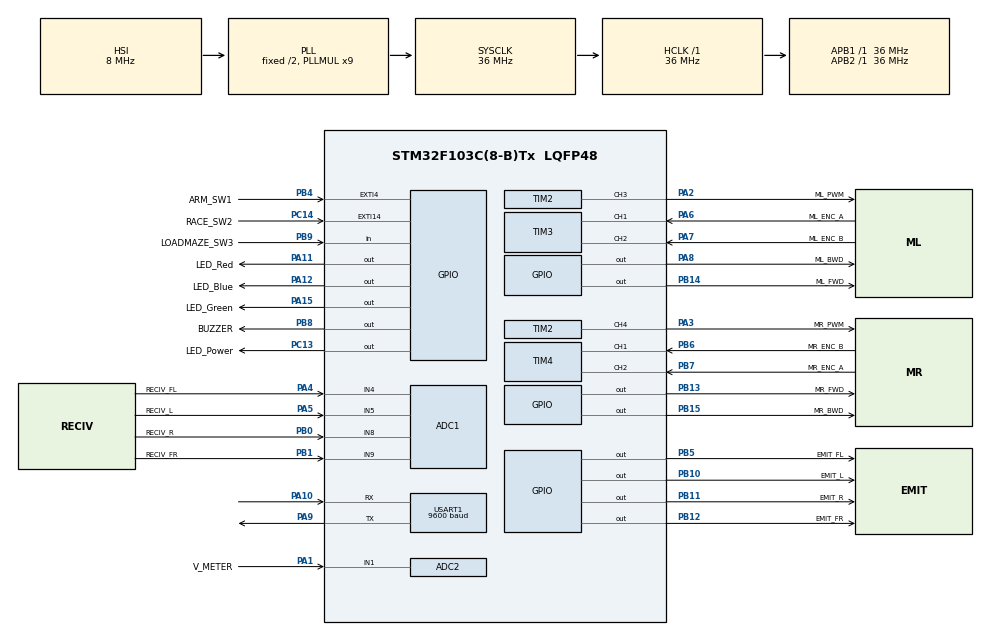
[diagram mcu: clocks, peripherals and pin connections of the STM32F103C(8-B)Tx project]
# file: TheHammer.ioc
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ADC1.Channel-0\#ChannelRegularConversion=ADC_CHANNEL_5
ADC1.NbrOfConversionFlag=1
ADC1.Rank-0\#ChannelRegularConversion=1
ADC1.SamplingTime-0\#ChannelRegularConversion=ADC_SAMPLETIME_1CYCLE_5
ADC1.master=1
ADC2.Channel-0\#ChannelRegularConversion=ADC_CHANNEL_1
ADC2.NbrOfConversion=1
ADC2.NbrOfConversionFlag=1
ADC2.Rank-0\#ChannelRegularConversion=1
ADC2.SamplingTime-0\#ChannelRegularConversion=ADC_SAMPLETIME_1CYCLE_5
Mcu.Family=STM32F1
Mcu.Name=STM32F103C(8-B)Tx
Mcu.Package=LQFP48
NVIC.EXTI15_10_IRQn=true\:15\:0\:true\:false\:true\:true\:true\:true
NVIC.EXTI4_IRQn=true\:15\:0\:true\:false\:true\:true\:true\:true
NVIC.PriorityGroup=NVIC_PRIORITYGROUP_4
NVIC.TIM3_IRQn=true\:0\:0\:false\:false\:true\:true\:true\:true
NVIC.TIM4_IRQn=true\:0\:0\:false\:false\:true\:true\:true\:true
NVIC.USART1_IRQn=true\:0\:0\:false\:false\:true\:true\:true\:true
PA1.GPIO_Label=V_METER
PA1.Signal=ADCx_IN1
PA10.Mode=Asynchronous
PA10.Signal=USART1_RX
PA11.GPIO_Label=LED_Red
PA11.PinState=GPIO_PIN_SET
PA11.Signal=GPIO_Output
PA12.GPIO_Label=LED_Blue
PA12.PinState=GPIO_PIN_SET
PA12.Signal=GPIO_Output
PA13.Mode=Serial_Wire
PA13.Signal=SYS_JTMS-SWDIO
PA14.Mode=Serial_Wire
PA14.Signal=SYS_JTCK-SWCLK
PA15.GPIO_Label=LED_Green
PA15.PinState=GPIO_PIN_SET
PA15.Signal=GPIO_Output
PA2.GPIO_Label=ML_PWM
PA2.Signal=S_TIM2_CH3
PA3.GPIO_Label=MR_PWM
PA3.Signal=S_TIM2_CH4
PA4.GPIO_Label=RECIV_FL
PA4.Signal=ADCx_IN4
PA5.GPIO_Label=RECIV_L
PA5.Signal=ADCx_IN5
PA6.GPIO_Label=ML_ENC_A
PA6.GPIO_PuPd=GPIO_NOPULL
PA6.Signal=S_TIM3_CH1
PA7.GPIO_Label=ML_ENC_B
PA7.GPIO_PuPd=GPIO_NOPULL
PA7.Signal=S_TIM3_CH2
PA8.GPIO_Label=ML_BWD
PA8.Signal=GPIO_Output
PA9.Mode=Asynchronous
PA9.Signal=USART1_TX
PB0.GPIO_Label=RECIV_R
PB0.Signal=ADCx_IN8
PB1.GPIO_Label=RECIV_FR
PB1.Signal=ADCx_IN9
PB10.GPIO_Label=EMIT_L
PB10.Signal=GPIO_Output
PB11.GPIO_Label=EMIT_R
PB11.Signal=GPIO_Output
PB12.GPIO_Label=EMIT_FR
PB12.Signal=GPIO_Output
PB13.GPIO_Label=MR_FWD
PB13.Signal=GPIO_Output
PB14.GPIO_Label=ML_FWD
PB14.Signal=GPIO_Output
PB15.GPIO_Label=MR_BWD
PB15.Signal=GPIO_Output
PB4.GPIO_Label=ARM_SW1
PB4.GPIO_ModeDefaultEXTI=GPIO_MODE_IT_FALLING
PB4.Signal=GPXTI4
PB5.GPIO_Label=EMIT_FL
PB5.Signal=GPIO_Output
PB6.GPIO_Label=MR_ENC_B
PB6.Signal=S_TIM4_CH1
PB7.GPIO_Label=MR_ENC_A
PB7.Signal=S_TIM4_CH2
PB8.GPIO_Label=BUZZER
PB8.Signal=GPIO_Output
PB9.GPIO_Label=LOADMAZE_SW3
PB9.Signal=GPIO_Input
PC13-TAMPER-RTC.GPIO_Label=LED_Power
PC13-TAMPER-RTC.Signal=GPIO_Output
PC14-OSC32_IN.GPIO_Label=RACE_SW2
PC14-OSC32_IN.GPIO_ModeDefaultEXTI=GPIO_MODE_IT_FALLING
PC14-OSC32_IN.Signal=GPXTI14
ProjectManager.HeapSize=0x200
ProjectManager.StackSize=0x400
ProjectManager.TargetToolchain=STM32CubeIDE
RCC.ADCPresc=RCC_ADCPCLK2_DIV6
RCC.AHBFreq_Value=36000000
RCC.APB1Freq_Value=36000000
RCC.APB1TimFreq_Value=36000000
RCC.APB2Freq_Value=36000000
RCC.APB2TimFreq_Value=36000000
RCC.HCLKFreq_Value=36000000
RCC.PLLMUL=RCC_PLL_MUL9
RCC.SYSCLKFreq_VALUE=36000000
RCC.SYSCLKSource=RCC_SYSCLKSOURCE_PLLCLK
RCC.USBFreq_Value=36000000
SH.ADCx_IN1.0=ADC2_IN1,IN1
SH.ADCx_IN4.0=ADC1_IN4,IN4
SH.ADCx_IN5.0=ADC1_IN5,IN5
SH.ADCx_IN8.0=ADC1_IN8,IN8
SH.ADCx_IN9.0=ADC1_IN9,IN9
SH.S_TIM2_CH3.0=TIM2_CH3,PWM Generation3 CH3
SH.S_TIM2_CH4.0=TIM2_CH4,PWM Generation4 CH4
SH.S_TIM3_CH1.0=TIM3_CH1,Encoder_Interface
SH.S_TIM3_CH2.0=TIM3_CH2,Encoder_Interface
SH.S_TIM4_CH1.0=TIM4_CH1,Encoder_Interface
SH.S_TIM4_CH2.0=TIM4_CH2,Encoder_Interface
TIM2.AutoReloadPreload=TIM_AUTORELOAD_PRELOAD_ENABLE
TIM2.Channel-PWM\ Generation3\ CH3=TIM_CHANNEL_3
TIM2.Channel-PWM\ Generation4\ CH4=TIM_CHANNEL_4
TIM2.Period=2047
TIM2.Prescaler=0
TIM2.Pulse-PWM\ Generation3\ CH3=0
TIM2.Pulse-PWM\ Generation4\ CH4=0
TIM3.CounterMode=TIM_COUNTERMODE_UP
TIM3.EncoderMode=TIM_ENCODERMODE_TI12
TIM3.IC1Filter=0
TIM3.IC1Polarity=TIM_ICPOLARITY_FALLING
TIM3.IC2Filter=0
TIM3.IC2Polarity=TIM_ICPOLARITY_FALLING
TIM3.TIM_MasterOutputTrigger=TIM_TRGO_RESET
TIM4.CounterMode=TIM_COUNTERMODE_UP
TIM4.EncoderMode=TIM_ENCODERMODE_TI12
TIM4.IC1Polarity=TIM_ICPOLARITY_FALLING
TIM4.IC2Polarity=TIM_ICPOLARITY_FALLING
USART1.BaudRate=9600
USART1.Mode=MODE_TX_RX
USART1.VirtualMode=VM_ASYNC
USART1.WordLength=WORDLENGTH_8B
VP_TIM2_VS_ClockSourceINT.Mode=Internal
board=custom

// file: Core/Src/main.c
/* USER CODE BEGIN Header */
/**
  ******************************************************************************
  * @file           : main.c
  * @brief          : Main program body
  ******************************************************************************
  * @attention
  *
  * Copyright (c) 2025 STMicroelectronics.
  * All rights reserved.
  *
  * This software is licensed under terms that can be found in the LICENSE file
  * in the root directory of this software component.
  * If no LICENSE file comes with this software, it is provided AS-IS.
  *
  ******************************************************************************
  */
/* USER CODE END Header */
#include "main.h"

/* USER CODE BEGIN Includes */
#include "mm_supplemental.h"
#include "mm_commands.h"
#include "mm_vision.h"
#include "mm_systick.h"
#include "mm_motors.h"
#include "mm_encoders.h"
#include "mm_floodfill.h"
#include "mm_profiles.h"
/* USER CODE END Includes */

ADC_HandleTypeDef hadc1;
ADC_HandleTypeDef hadc2;

TIM_HandleTypeDef htim2;
TIM_HandleTypeDef htim3;
TIM_HandleTypeDef htim4;

UART_HandleTypeDef huart1;

void SystemClock_Config(void);
static void MX_GPIO_Init(void);
static void MX_ADC1_Init(void);
static void MX_TIM2_Init(void);
static void MX_TIM3_Init(void);
static void MX_TIM4_Init(void);
static void MX_USART1_UART_Init(void);
static void MX_ADC2_Init(void);

/* USER CODE BEGIN 0 */
mouse_state_t mouse_state;

// Debug Mode
uint8_t debugMode = 0;
uint8_t debugCounter = 0;

// Global
uint32_t global_time = 0;
bool armed = false;

// IRs
extern bool adjust_steering;

// Encoders
int32_t objective_L = 0;
int32_t objective_R = 0;

// Maze-Solving
struct Maze maze;
uint8_t goal_swap = 0;

mouse_mode_t mouse_mode = SEARCHING;

// Profiles
profile_t forward_profile;
profile_t rotational_profile;

extern bool motor_controller_enabled;
extern param_t fwd_placeholder_1;
extern param_t fwd_placeholder_2;
extern param_t rot_placeholder_1;

/* USER CODE END 0 */

int main(void)
{

  /* MCU Configuration--------------------------------------------------------*/

  /* Reset of all peripherals, Initializes the Flash interface and the Systick. */
  HAL_Init();

  /* USER CODE BEGIN Init */
  LED_Power_Init();
  /* USER CODE END Init */

  /* Configure the system clock */
  SystemClock_Config();

  /* Initialize all configured peripherals */
  MX_GPIO_Init();
  MX_ADC1_Init();
  MX_TIM2_Init();
  MX_TIM3_Init();
  MX_TIM4_Init();
  MX_USART1_UART_Init();
  MX_ADC2_Init();
  /* USER CODE BEGIN 2 */
  uint8_t startBuff;
  HAL_UART_Receive_IT(&huart1, &startBuff, 1);

  HAL_TIM_PWM_Start(&htim2, TIM_CHANNEL_3);
  HAL_TIM_PWM_Start(&htim2, TIM_CHANNEL_4);

  HAL_TIM_Encoder_Start_IT(&htim4, TIM_CHANNEL_ALL);
  HAL_TIM_Encoder_Start_IT(&htim3, TIM_CHANNEL_ALL);

  // Initialize maze and set initial goal cells (center of 16x16 maze)
  Maze_Init(&maze);
  Set_Goal_Cell(&maze, 4);

  // Initialize mouse state to 0
  bzero(&mouse_state, sizeof(mouse_state_t));

  Clear_Profile(&forward_profile);
  Clear_Profile(&rotational_profile);
  /* USER CODE END 2 */

  /* Infinite loop */
  while (1)
  {

    /* USER CODE BEGIN 3 */
	  if (armed) {
		  motor_controller_enabled = true;
		  adjust_steering = true;
		  switch (mouse_mode) {
			  case TEST: // Mode for testing code without having to comment lines out
				  break;
			  case SEARCHING:
				  Search_Mode(&maze);
				  break;
			  case RACING:
				  Race_Mode(maze);
				  break;
		  }
	  }
	  else {
		  motor_controller_enabled = false;
		  adjust_steering = false;
	  }
  }
  /* USER CODE END 3 */
}

void SystemClock_Config(void)
{
  RCC_OscInitTypeDef RCC_OscInitStruct = {0};
  RCC_ClkInitTypeDef RCC_ClkInitStruct = {0};
  RCC_PeriphCLKInitTypeDef PeriphClkInit = {0};

  /** Initializes the RCC Oscillators according to the specified parameters
  * in the RCC_OscInitTypeDef structure.
  */
  RCC_OscInitStruct.OscillatorType = RCC_OSCILLATORTYPE_HSI;
  RCC_OscInitStruct.HSIState = RCC_HSI_ON;
  RCC_OscInitStruct.HSICalibrationValue = RCC_HSICALIBRATION_DEFAULT;
  RCC_OscInitStruct.PLL.PLLState = RCC_PLL_ON;
  RCC_OscInitStruct.PLL.PLLSource = RCC_PLLSOURCE_HSI_DIV2;
  RCC_OscInitStruct.PLL.PLLMUL = RCC_PLL_MUL9;
  if (HAL_RCC_OscConfig(&RCC_OscInitStruct) != HAL_OK)
  {
    Error_Handler();
  }

  /** Initializes the CPU, AHB and APB buses clocks
  */
  RCC_ClkInitStruct.ClockType = RCC_CLOCKTYPE_HCLK|RCC_CLOCKTYPE_SYSCLK
                              |RCC_CLOCKTYPE_PCLK1|RCC_CLOCKTYPE_PCLK2;
  RCC_ClkInitStruct.SYSCLKSource = RCC_SYSCLKSOURCE_PLLCLK;
  RCC_ClkInitStruct.AHBCLKDivider = RCC_SYSCLK_DIV1;
  RCC_ClkInitStruct.APB1CLKDivider = RCC_HCLK_DIV1;
  RCC_ClkInitStruct.APB2CLKDivider = RCC_HCLK_DIV1;

  if (HAL_RCC_ClockConfig(&RCC_ClkInitStruct, FLASH_LATENCY_1) != HAL_OK)
  {
    Error_Handler();
  }
  PeriphClkInit.PeriphClockSelection = RCC_PERIPHCLK_ADC;
  PeriphClkInit.AdcClockSelection = RCC_ADCPCLK2_DIV6;
  if (HAL_RCCEx_PeriphCLKConfig(&PeriphClkInit) != HAL_OK)
  {
    Error_Handler();
  }
}

static void MX_ADC1_Init(void)
{

  ADC_ChannelConfTypeDef sConfig = {0};

  /** Common config
  */
  hadc1.Instance = ADC1;
  hadc1.Init.ScanConvMode = ADC_SCAN_DISABLE;
  hadc1.Init.ContinuousConvMode = DISABLE;
  hadc1.Init.DiscontinuousConvMode = DISABLE;
  hadc1.Init.ExternalTrigConv = ADC_SOFTWARE_START;
  hadc1.Init.DataAlign = ADC_DATAALIGN_RIGHT;
  hadc1.Init.NbrOfConversion = 1;
  if (HAL_ADC_Init(&hadc1) != HAL_OK)
  {
    Error_Handler();
  }

  /** Configure Regular Channel
  */
  sConfig.Channel = ADC_CHANNEL_5;
  sConfig.Rank = ADC_REGULAR_RANK_1;
  sConfig.SamplingTime = ADC_SAMPLETIME_1CYCLE_5;
  if (HAL_ADC_ConfigChannel(&hadc1, &sConfig) != HAL_OK)
  {
    Error_Handler();
  }

}

static void MX_ADC2_Init(void)
{

  ADC_ChannelConfTypeDef sConfig = {0};

  /** Common config
  */
  hadc2.Instance = ADC2;
  hadc2.Init.ScanConvMode = ADC_SCAN_DISABLE;
  hadc2.Init.ContinuousConvMode = DISABLE;
  hadc2.Init.DiscontinuousConvMode = DISABLE;
  hadc2.Init.ExternalTrigConv = ADC_SOFTWARE_START;
  hadc2.Init.DataAlign = ADC_DATAALIGN_RIGHT;
  hadc2.Init.NbrOfConversion = 1;
  if (HAL_ADC_Init(&hadc2) != HAL_OK)
  {
    Error_Handler();
  }

  /** Configure Regular Channel
  */
  sConfig.Channel = ADC_CHANNEL_1;
  sConfig.Rank = ADC_REGULAR_RANK_1;
  sConfig.SamplingTime = ADC_SAMPLETIME_1CYCLE_5;
  if (HAL_ADC_ConfigChannel(&hadc2, &sConfig) != HAL_OK)
  {
    Error_Handler();
  }

}

static void MX_TIM2_Init(void)
{

  TIM_ClockConfigTypeDef sClockSourceConfig = {0};
  TIM_MasterConfigTypeDef sMasterConfig = {0};
  TIM_OC_InitTypeDef sConfigOC = {0};

  htim2.Instance = TIM2;
  htim2.Init.Prescaler = 0;
  htim2.Init.CounterMode = TIM_COUNTERMODE_UP;
  htim2.Init.Period = 2047;
  htim2.Init.ClockDivision = TIM_CLOCKDIVISION_DIV1;
  htim2.Init.AutoReloadPreload = TIM_AUTORELOAD_PRELOAD_ENABLE;
  if (HAL_TIM_Base_Init(&htim2) != HAL_OK)
  {
    Error_Handler();
  }
  sClockSourceConfig.ClockSource = TIM_CLOCKSOURCE_INTERNAL;
  if (HAL_TIM_ConfigClockSource(&htim2, &sClockSourceConfig) != HAL_OK)
  {
    Error_Handler();
  }
  if (HAL_TIM_PWM_Init(&htim2) != HAL_OK)
  {
    Error_Handler();
  }
  sMasterConfig.MasterOutputTrigger = TIM_TRGO_RESET;
  sMasterConfig.MasterSlaveMode = TIM_MASTERSLAVEMODE_DISABLE;
  if (HAL_TIMEx_MasterConfigSynchronization(&htim2, &sMasterConfig) != HAL_OK)
  {
    Error_Handler();
  }
  sConfigOC.OCMode = TIM_OCMODE_PWM1;
  sConfigOC.Pulse = 0;
  sConfigOC.OCPolarity = TIM_OCPOLARITY_HIGH;
  sConfigOC.OCFastMode = TIM_OCFAST_DISABLE;
  if (HAL_TIM_PWM_ConfigChannel(&htim2, &sConfigOC, TIM_CHANNEL_3) != HAL_OK)
  {
    Error_Handler();
  }
  if (HAL_TIM_PWM_ConfigChannel(&htim2, &sConfigOC, TIM_CHANNEL_4) != HAL_OK)
  {
    Error_Handler();
  }
  HAL_TIM_MspPostInit(&htim2);

}

static void MX_TIM3_Init(void)
{

  TIM_Encoder_InitTypeDef sConfig = {0};
  TIM_MasterConfigTypeDef sMasterConfig = {0};

  htim3.Instance = TIM3;
  htim3.Init.Prescaler = 0;
  htim3.Init.CounterMode = TIM_COUNTERMODE_UP;
  htim3.Init.Period = 65535;
  htim3.Init.ClockDivision = TIM_CLOCKDIVISION_DIV1;
  htim3.Init.AutoReloadPreload = TIM_AUTORELOAD_PRELOAD_DISABLE;
  sConfig.EncoderMode = TIM_ENCODERMODE_TI12;
  sConfig.IC1Polarity = TIM_ICPOLARITY_FALLING;
  sConfig.IC1Selection = TIM_ICSELECTION_DIRECTTI;
  sConfig.IC1Prescaler = TIM_ICPSC_DIV1;
  sConfig.IC1Filter = 0;
  sConfig.IC2Polarity = TIM_ICPOLARITY_FALLING;
  sConfig.IC2Selection = TIM_ICSELECTION_DIRECTTI;
  sConfig.IC2Prescaler = TIM_ICPSC_DIV1;
  sConfig.IC2Filter = 0;
  if (HAL_TIM_Encoder_Init(&htim3, &sConfig) != HAL_OK)
  {
    Error_Handler();
  }
  sMasterConfig.MasterOutputTrigger = TIM_TRGO_RESET;
  sMasterConfig.MasterSlaveMode = TIM_MASTERSLAVEMODE_DISABLE;
  if (HAL_TIMEx_MasterConfigSynchronization(&htim3, &sMasterConfig) != HAL_OK)
  {
    Error_Handler();
  }

}

static void MX_TIM4_Init(void)
{

  TIM_Encoder_InitTypeDef sConfig = {0};
  TIM_MasterConfigTypeDef sMasterConfig = {0};

  htim4.Instance = TIM4;
  htim4.Init.Prescaler = 0;
  htim4.Init.CounterMode = TIM_COUNTERMODE_UP;
  htim4.Init.Period = 65535;
  htim4.Init.ClockDivision = TIM_CLOCKDIVISION_DIV1;
  htim4.Init.AutoReloadPreload = TIM_AUTORELOAD_PRELOAD_DISABLE;
  sConfig.EncoderMode = TIM_ENCODERMODE_TI12;
  sConfig.IC1Polarity = TIM_ICPOLARITY_FALLING;
  sConfig.IC1Selection = TIM_ICSELECTION_DIRECTTI;
  sConfig.IC1Prescaler = TIM_ICPSC_DIV1;
  sConfig.IC1Filter = 0;
  sConfig.IC2Polarity = TIM_ICPOLARITY_FALLING;
  sConfig.IC2Selection = TIM_ICSELECTION_DIRECTTI;
  sConfig.IC2Prescaler = TIM_ICPSC_DIV1;
  sConfig.IC2Filter = 0;
  if (HAL_TIM_Encoder_Init(&htim4, &sConfig) != HAL_OK)
  {
    Error_Handler();
  }
  sMasterConfig.MasterOutputTrigger = TIM_TRGO_RESET;
  sMasterConfig.MasterSlaveMode = TIM_MASTERSLAVEMODE_DISABLE;
  if (HAL_TIMEx_MasterConfigSynchronization(&htim4, &sMasterConfig) != HAL_OK)
  {
    Error_Handler();
  }

}

static void MX_USART1_UART_Init(void)
{

  huart1.Instance = USART1;
  huart1.Init.BaudRate = 9600;
  huart1.Init.WordLength = UART_WORDLENGTH_8B;
  huart1.Init.StopBits = UART_STOPBITS_1;
  huart1.Init.Parity = UART_PARITY_NONE;
  huart1.Init.Mode = UART_MODE_TX_RX;
  huart1.Init.HwFlowCtl = UART_HWCONTROL_NONE;
  huart1.Init.OverSampling = UART_OVERSAMPLING_16;
  if (HAL_UART_Init(&huart1) != HAL_OK)
  {
    Error_Handler();
  }

}

static void MX_GPIO_Init(void)
{
  GPIO_InitTypeDef GPIO_InitStruct = {0};

  /* GPIO Ports Clock Enable */
  __HAL_RCC_GPIOC_CLK_ENABLE();
  __HAL_RCC_GPIOA_CLK_ENABLE();
  __HAL_RCC_GPIOB_CLK_ENABLE();

  /*Configure GPIO pin Output Level */
  HAL_GPIO_WritePin(LED_Power_GPIO_Port, LED_Power_Pin, GPIO_PIN_RESET);

  /*Configure GPIO pin Output Level */
  HAL_GPIO_WritePin(GPIOB, EMIT_L_Pin|EMIT_R_Pin|EMIT_FR_Pin|MR_FWD_Pin
                          |ML_FWD_Pin|MR_BWD_Pin|EMIT_FL_Pin|BUZZER_Pin, GPIO_PIN_RESET);

  /*Configure GPIO pin Output Level */
  HAL_GPIO_WritePin(ML_BWD_GPIO_Port, ML_BWD_Pin, GPIO_PIN_RESET);

  /*Configure GPIO pin Output Level */
  HAL_GPIO_WritePin(GPIOA, LED_Red_Pin|LED_Blue_Pin|LED_Green_Pin, GPIO_PIN_SET);

  /*Configure GPIO pin : LED_Power_Pin */
  GPIO_InitStruct.Pin = LED_Power_Pin;
  GPIO_InitStruct.Mode = GPIO_MODE_OUTPUT_PP;
  GPIO_InitStruct.Pull = GPIO_NOPULL;
  GPIO_InitStruct.Speed = GPIO_SPEED_FREQ_LOW;
  HAL_GPIO_Init(LED_Power_GPIO_Port, &GPIO_InitStruct);

  /*Configure GPIO pin : RACE_SW2_Pin */
  GPIO_InitStruct.Pin = RACE_SW2_Pin;
  GPIO_InitStruct.Mode = GPIO_MODE_IT_FALLING;
  GPIO_InitStruct.Pull = GPIO_NOPULL;
  HAL_GPIO_Init(RACE_SW2_GPIO_Port, &GPIO_InitStruct);

  /*Configure GPIO pins : EMIT_L_Pin EMIT_R_Pin EMIT_FR_Pin MR_FWD_Pin
                           ML_FWD_Pin MR_BWD_Pin EMIT_FL_Pin BUZZER_Pin */
  GPIO_InitStruct.Pin = EMIT_L_Pin|EMIT_R_Pin|EMIT_FR_Pin|MR_FWD_Pin
                          |ML_FWD_Pin|MR_BWD_Pin|EMIT_FL_Pin|BUZZER_Pin;
  GPIO_InitStruct.Mode = GPIO_MODE_OUTPUT_PP;
  GPIO_InitStruct.Pull = GPIO_NOPULL;
  GPIO_InitStruct.Speed = GPIO_SPEED_FREQ_LOW;
  HAL_GPIO_Init(GPIOB, &GPIO_InitStruct);

  /*Configure GPIO pins : ML_BWD_Pin LED_Red_Pin LED_Blue_Pin LED_Green_Pin */
  GPIO_InitStruct.Pin = ML_BWD_Pin|LED_Red_Pin|LED_Blue_Pin|LED_Green_Pin;
  GPIO_InitStruct.Mode = GPIO_MODE_OUTPUT_PP;
  GPIO_InitStruct.Pull = GPIO_NOPULL;
  GPIO_InitStruct.Speed = GPIO_SPEED_FREQ_LOW;
  HAL_GPIO_Init(GPIOA, &GPIO_InitStruct);

  /*Configure GPIO pin : ARM_SW1_Pin */
  GPIO_InitStruct.Pin = ARM_SW1_Pin;
  GPIO_InitStruct.Mode = GPIO_MODE_IT_FALLING;
  GPIO_InitStruct.Pull = GPIO_NOPULL;
  HAL_GPIO_Init(ARM_SW1_GPIO_Port, &GPIO_InitStruct);

  /*Configure GPIO pin : LOADMAZE_SW3_Pin */
  GPIO_InitStruct.Pin = LOADMAZE_SW3_Pin;
  GPIO_InitStruct.Mode = GPIO_MODE_INPUT;
  GPIO_InitStruct.Pull = GPIO_NOPULL;
  HAL_GPIO_Init(LOADMAZE_SW3_GPIO_Port, &GPIO_InitStruct);

  /* EXTI interrupt init*/
  HAL_NVIC_SetPriority(EXTI4_IRQn, 15, 0);
  HAL_NVIC_EnableIRQ(EXTI4_IRQn);

  HAL_NVIC_SetPriority(EXTI15_10_IRQn, 15, 0);
  HAL_NVIC_EnableIRQ(EXTI15_10_IRQn);

}

/* USER CODE BEGIN 4 */
void HAL_GPIO_EXTI_Callback(uint16_t GPIO_Pin) {
	if (GPIO_Pin == ARM_SW1_Pin) {       // Set to arm mode
		ARM_Button();
	}
	else if (GPIO_Pin == RACE_SW2_Pin) { // Set to race mode
		RACE_Button();
	}
	else if (GPIO_Pin == LOADMAZE_SW3_Pin) { // Load maze from memory into maze struct
		LOADMAZE_Button();
	}
}

void HAL_UART_RxCpltCallback(UART_HandleTypeDef *huart) {
	UART_Receive_Callback(huart);
}
/* USER CODE END 4 */

void Error_Handler(void)
{
  __disable_irq();
  while (1)
  {
  }
}
